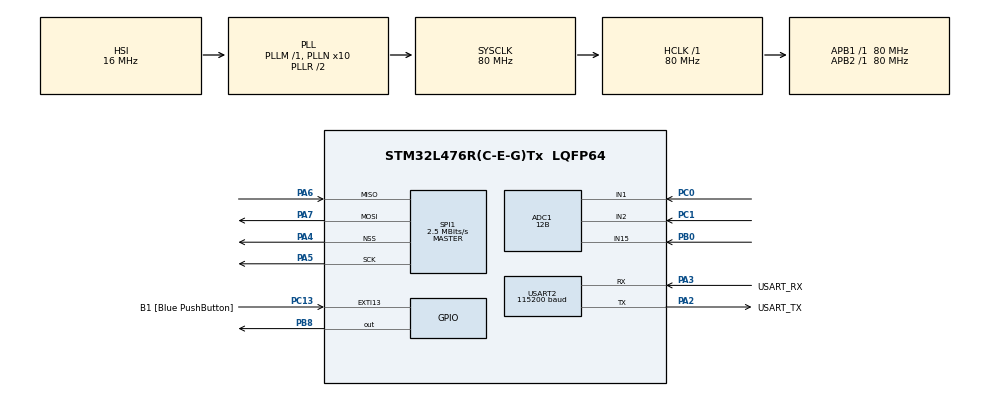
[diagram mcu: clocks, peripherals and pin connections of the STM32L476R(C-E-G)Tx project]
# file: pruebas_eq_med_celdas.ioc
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ADC1.Channel-0\#ChannelRegularConversion=ADC_CHANNEL_1
ADC1.Channel-1\#ChannelRegularConversion=ADC_CHANNEL_2
ADC1.Channel-2\#ChannelRegularConversion=ADC_CHANNEL_15
ADC1.EOCSelection=ADC_EOC_SEQ_CONV
ADC1.ExternalTrigConv=ADC_EXTERNALTRIG_T6_TRGO
ADC1.NbrOfConversion=3
ADC1.NbrOfConversionFlag=1
ADC1.OffsetNumber-0\#ChannelRegularConversion=ADC_OFFSET_NONE
ADC1.OffsetNumber-1\#ChannelRegularConversion=ADC_OFFSET_NONE
ADC1.OffsetNumber-2\#ChannelRegularConversion=ADC_OFFSET_NONE
ADC1.Overrun=ADC_OVR_DATA_OVERWRITTEN
ADC1.Rank-0\#ChannelRegularConversion=1
ADC1.Rank-1\#ChannelRegularConversion=2
ADC1.Rank-2\#ChannelRegularConversion=3
ADC1.Resolution=ADC_RESOLUTION_12B
ADC1.SamplingTime-0\#ChannelRegularConversion=ADC_SAMPLETIME_12CYCLES_5
ADC1.SamplingTime-1\#ChannelRegularConversion=ADC_SAMPLETIME_12CYCLES_5
ADC1.SamplingTime-2\#ChannelRegularConversion=ADC_SAMPLETIME_12CYCLES_5
ADC1.master=1
Dma.ADC1.1.Direction=DMA_PERIPH_TO_MEMORY
Dma.ADC1.1.Instance=DMA1_Channel1
Dma.ADC1.1.MemDataAlignment=DMA_MDATAALIGN_HALFWORD
Dma.ADC1.1.MemInc=DMA_MINC_ENABLE
Dma.ADC1.1.Mode=DMA_NORMAL
Dma.ADC1.1.PeriphDataAlignment=DMA_PDATAALIGN_HALFWORD
Dma.ADC1.1.PeriphInc=DMA_PINC_DISABLE
Dma.ADC1.1.Priority=DMA_PRIORITY_LOW
Dma.Request0=SPI1_TX
Dma.Request1=ADC1
Dma.SPI1_TX.0.Direction=DMA_MEMORY_TO_PERIPH
Dma.SPI1_TX.0.Instance=DMA1_Channel3
Dma.SPI1_TX.0.MemDataAlignment=DMA_MDATAALIGN_HALFWORD
Dma.SPI1_TX.0.MemInc=DMA_MINC_ENABLE
Dma.SPI1_TX.0.Mode=DMA_CIRCULAR
Dma.SPI1_TX.0.PeriphDataAlignment=DMA_PDATAALIGN_HALFWORD
Dma.SPI1_TX.0.PeriphInc=DMA_PINC_DISABLE
Dma.SPI1_TX.0.Priority=DMA_PRIORITY_LOW
Mcu.Family=STM32L4
Mcu.Name=STM32L476R(C-E-G)Tx
Mcu.Package=LQFP64
NVIC.ADC1_2_IRQn=true\:0\:0\:false\:false\:true\:true\:true\:true
NVIC.DMA1_Channel1_IRQn=true\:0\:0\:false\:false\:true\:false\:true\:true
NVIC.DMA1_Channel3_IRQn=true\:0\:0\:false\:false\:true\:false\:true\:true
NVIC.PriorityGroup=NVIC_PRIORITYGROUP_4
NVIC.TIM6_DAC_IRQn=true\:0\:0\:false\:false\:true\:true\:true\:true
NVIC.USART2_IRQn=true\:0\:0\:false\:false\:true\:true\:true\:true
PA13\ (JTMS-SWDIO).GPIO_Label=TMS
PA13\ (JTMS-SWDIO).Mode=Serial_Wire
PA13\ (JTMS-SWDIO).Signal=SYS_JTMS-SWDIO
PA14\ (JTCK-SWCLK).GPIO_Label=TCK
PA14\ (JTCK-SWCLK).Mode=Serial_Wire
PA14\ (JTCK-SWCLK).Signal=SYS_JTCK-SWCLK
PA2.GPIO_Label=USART_TX
PA2.GPIO_Mode=GPIO_MODE_AF_PP
PA2.GPIO_PuPd=GPIO_NOPULL
PA2.GPIO_Speed=GPIO_SPEED_FREQ_VERY_HIGH
PA2.Mode=Asynchronous
PA2.Signal=USART2_TX
PA3.GPIO_Label=USART_RX
PA3.GPIO_Mode=GPIO_MODE_AF_PP
PA3.GPIO_PuPd=GPIO_NOPULL
PA3.GPIO_Speed=GPIO_SPEED_FREQ_VERY_HIGH
PA3.Mode=Asynchronous
PA3.Signal=USART2_RX
PA4.GPIO_Speed=GPIO_SPEED_FREQ_LOW
PA4.Mode=NSS_Signal_Hard_Output
PA4.Signal=SPI1_NSS
PA5.GPIO_Speed=GPIO_SPEED_FREQ_LOW
PA5.Mode=Full_Duplex_Master
PA5.Signal=SPI1_SCK
PA6.GPIO_Speed=GPIO_SPEED_FREQ_LOW
PA6.Mode=Full_Duplex_Master
PA6.Signal=SPI1_MISO
PA7.GPIO_Speed=GPIO_SPEED_FREQ_LOW
PA7.Mode=Full_Duplex_Master
PA7.Signal=SPI1_MOSI
PB0.Signal=ADCx_IN15
PB8.GPIO_PuPd=GPIO_PULLDOWN
PB8.Signal=GPIO_Output
PC0.Signal=ADCx_IN1
PC1.Signal=ADCx_IN2
PC13.GPIO_Label=B1 [Blue PushButton]
PC13.GPIO_ModeDefaultEXTI=GPIO_MODE_IT_FALLING
PC13.GPIO_PuPd=GPIO_NOPULL
PC13.Signal=GPXTI13
PC14-OSC32_IN\ (PC14).Mode=LSE-External-Oscillator
PC14-OSC32_IN\ (PC14).Signal=RCC_OSC32_IN
PC15-OSC32_OUT\ (PC15).Mode=LSE-External-Oscillator
PC15-OSC32_OUT\ (PC15).Signal=RCC_OSC32_OUT
PH0-OSC_IN\ (PH0).Signal=RCC_OSC_IN
PH1-OSC_OUT\ (PH1).Signal=RCC_OSC_OUT
ProjectManager.HeapSize=0x200
ProjectManager.StackSize=0x400
ProjectManager.TargetToolchain=STM32CubeIDE
RCC.ADCFreq_Value=64000000
RCC.AHBFreq_Value=80000000
RCC.APB1Freq_Value=80000000
RCC.APB1TimFreq_Value=80000000
RCC.APB2Freq_Value=80000000
RCC.APB2TimFreq_Value=80000000
RCC.CortexFreq_Value=80000000
RCC.HCLKFreq_Value=80000000
RCC.HSE_VALUE=8000000
RCC.HSI_VALUE=16000000
RCC.MSI_VALUE=4000000
RCC.PLLN=10
RCC.PLLSourceVirtual=RCC_PLLSOURCE_HSI
RCC.PREFETCH_ENABLE=1
RCC.SYSCLKFreq_VALUE=80000000
RCC.SYSCLKSource=RCC_SYSCLKSOURCE_PLLCLK
RCC.USBFreq_Value=64000000
RCC.VCOOutputFreq_Value=160000000
SH.ADCx_IN1.0=ADC1_IN1,IN1-Single-Ended
SH.ADCx_IN15.0=ADC1_IN15,IN15-Single-Ended
SH.ADCx_IN2.0=ADC1_IN2,IN2-Single-Ended
SPI1.BaudRatePrescaler=SPI_BAUDRATEPRESCALER_32
SPI1.CRCCalculation=SPI_CRCCALCULATION_DISABLE
SPI1.CalculateBaudRate=2.5 MBits/s
SPI1.DataSize=SPI_DATASIZE_16BIT
SPI1.Direction=SPI_DIRECTION_2LINES
SPI1.Mode=SPI_MODE_MASTER
SPI1.NSSPMode=SPI_NSS_PULSE_ENABLE
SPI1.VirtualNSS=VM_NSSHARD
SPI1.VirtualType=VM_MASTER
TIM6.Period=9
TIM6.Prescaler=7
TIM6.TIM_MasterOutputTrigger=TIM_TRGO_UPDATE
USART2.BaudRate=115200
USART2.VirtualMode-Asynchronous=VM_ASYNC
VP_TIM6_VS_ClockSourceINT.Mode=Enable_Timer
board=NUCLEO-L476RG

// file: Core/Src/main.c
/* USER CODE BEGIN Header */
/**
  ******************************************************************************
  * @file           : main.c
  * @brief          : Main program body
  ******************************************************************************
  * @attention
  *
  * Copyright (c) 2026 STMicroelectronics.
  * All rights reserved.
  *
  * This software is licensed under terms that can be found in the LICENSE file
  * in the root directory of this software component.
  * If no LICENSE file comes with this software, it is provided AS-IS.
  *
  ******************************************************************************
  */
/* USER CODE END Header */
#include "main.h"

/* USER CODE BEGIN Includes */
#include "math.h"
#include <string.h>
/* USER CODE END Includes */

/* USER CODE BEGIN PTD */
typedef enum {
    MCP4822_CH_A = 0,
    MCP4822_CH_B = 1
} MCP4822_Channel;
/* USER CODE END PTD */

/* USER CODE BEGIN PD */
#define SAMPLE_RATE     1000000
#define CHANNELS        3
#define RECORD_TIME_MS  10

#define ADC_SAMPLES     ((SAMPLE_RATE * RECORD_TIME_MS / 1000) * CHANNELS)

uint16_t adcBuffer[ADC_SAMPLES];

volatile uint8_t adcFinished = 0;

uint8_t rx;
char command[16];
uint8_t commandIndex = 0;
/* USER CODE END PD */

/* USER CODE BEGIN PM */
#define MCP482X_VREF 2.048f
/* USER CODE END PM */

ADC_HandleTypeDef hadc1;
DMA_HandleTypeDef hdma_adc1;

SPI_HandleTypeDef hspi1;
DMA_HandleTypeDef hdma_spi1_tx;

TIM_HandleTypeDef htim6;

UART_HandleTypeDef huart2;

void SystemClock_Config(void);
static void MX_GPIO_Init(void);
static void MX_DMA_Init(void);
static void MX_USART2_UART_Init(void);
static void MX_SPI1_Init(void);
static void MX_ADC1_Init(void);
static void MX_TIM6_Init(void);
/* USER CODE BEGIN PFP */
void MCP4822_FillSineDMA(uint16_t *buffer,
                                uint32_t size,
                                float amplitude_volts,
                                float offset_volts,
                                uint8_t ga,
                                uint8_t channel)
{
    if (!buffer || size == 0) return;

    float fullscale = ga ? MCP482X_VREF : (2.0f * MCP482X_VREF);

    // Limitar amplitud para no saturar
    float max_amp = offset_volts;
    if ((fullscale - offset_volts) < max_amp)
        max_amp = fullscale - offset_volts;

    if (amplitude_volts > max_amp)
        amplitude_volts = max_amp;

    uint16_t config = 0;
    config |= (channel ? (1 << 15) : 0); // A/B
    config |= (1 << 14);                 // BUF
    config |= (ga ? (1 << 13) : 0);      // GA
    config |= (1 << 12);                 // SHDN

    for (uint32_t i = 0; i < size; i++)
    {
        float phase = 2.0f * M_PI * ((float)i / (float)size);
        float s = sinf(phase);

        float voltage = offset_volts + s * amplitude_volts;

        if (voltage < 0.0f) voltage = 0.0f;
        if (voltage > fullscale) voltage = fullscale;

        uint16_t code = (uint16_t)((voltage / fullscale) * 4095.0f);

        buffer[i] = config | (code & 0x0FFF);
    }
    HAL_SPI_Transmit_DMA(&hspi1, (uint8_t*)buffer, size);
}

void MCP4821_FillSineDMA(uint16_t *buffer,
                         uint32_t size,
                         float amplitude_volts,
                         float offset_volts,
                         uint8_t ga)
{
    if (!buffer || size == 0) return;

    float fullscale = ga ? MCP482X_VREF : (2.0f * MCP482X_VREF);

    // Limitar amplitud para no saturar
    float max_amp = offset_volts;

    if ((fullscale - offset_volts) < max_amp)
        max_amp = fullscale - offset_volts;

    if (amplitude_volts > max_amp)
        amplitude_volts = max_amp;

    uint16_t config = 0;

    config |= (1 << 14);             // BUF
    config |= (ga ? (1 << 13) : 0);  // GA
    config |= (1 << 12);             // SHDN

    for (uint32_t i = 0; i < size; i++)
    {
        float phase = 2.0f * M_PI * ((float)i / (float)size);
        float s = sinf(phase);

        float voltage = offset_volts + s * amplitude_volts;

        if (voltage < 0.0f)
            voltage = 0.0f;

        if (voltage > fullscale)
            voltage = fullscale;

        uint16_t code = (uint16_t)((voltage / fullscale) * 4095.0f);

        buffer[i] = config | (code & 0x0FFF);
    }

    HAL_SPI_Transmit_DMA(&hspi1, (uint8_t *)buffer, size);
}

// --- Set voltage function ---
void MCP4822_SetVoltage(MCP4822_Channel ch, float voltage)
{
    if (voltage < 0.0f)
        voltage = 0.0f;

    if (voltage > 4.096f)
        voltage = 4.096f;

    uint16_t code = (uint16_t)((voltage / 4.096f) * 4095.0f);

    uint16_t command = 0;

    command |= ((uint16_t)ch << 15);  // Channel select
    command |= (0U << 14);            // Unbuffered
    command |= (0U << 13);            // Gain = 2x
    command |= (1U << 12);            // Active
    command |= (code & 0x0FFF);       // 12-bit DAC code

    HAL_SPI_Transmit(&hspi1,
                     (uint8_t *)&command,
                     1,
                     HAL_MAX_DELAY);
}
/* USER CODE END PFP */

int main(void)
{

  /* MCU Configuration--------------------------------------------------------*/

  /* Reset of all peripherals, Initializes the Flash interface and the Systick. */
  HAL_Init();

  /* Configure the system clock */
  SystemClock_Config();

  /* Initialize all configured peripherals */
  MX_GPIO_Init();
  MX_DMA_Init();
  MX_USART2_UART_Init();
  MX_SPI1_Init();
  MX_ADC1_Init();
  MX_TIM6_Init();
  /* USER CODE BEGIN 2 */
//  uint32_t dac_val_1 = 0.2*4096/3.3;
//  uint32_t dac_val_2 = 1.90*4096/3.3;

//  HAL_TIM_Base_Start(&htim2);
//
//
//  HAL_DAC_Start(&hdac1, DAC_CHANNEL_2);
//  HAL_DAC_SetValue(&hdac1, DAC_CHANNEL_1, DAC_ALIGN_12B_R, dac_val_1);
//  HAL_DAC_Start(&hdac1, DAC_CHANNEL_1);
//  HAL_DAC_Start_DMA(&hdac1, DAC1_CHANNEL_1, sine_val, 100, DAC_ALIGN_12B_R);
//  HAL_DAC_SetValue(&hdac1, DAC_CHANNEL_2, DAC_ALIGN_12B_R, dac_val_2);

  uint16_t dac_buffer[139];
//
//  MCP4821_GenerateSine(dac_buffer, sizeof(dac_buffer)/sizeof(uint16_t), 0.1, 1);
//
//  HAL_SPI_Transmit_DMA(&hspi1, (uint8_t *) dac_buffer, sizeof(dac_buffer)/sizeof(uint16_t));

//  MCP4822_SetVoltage(MCP4822_CH_A , 2.0);
  MCP4822_SetVoltage(MCP4822_CH_B , 1.88); // 2.5 => 2.75 - 1.9 => 2.108 // VREF = 1.07 * VB + 0.075 // VB = 0.935 * VREF - 0.07 // VBAT = 2.01 * VREF
  HAL_Delay(100);
  MCP4822_FillSineDMA(dac_buffer, sizeof(dac_buffer)/sizeof(uint16_t), 0.05f,1.0f, 1, MCP4822_CH_A);
  /* USER CODE END 2 */

  /* Infinite loop */
  /* USER CODE BEGIN WHILE */
  memset((uint8_t *) adcBuffer, 0, sizeof(adcBuffer));
  HAL_UART_Receive_IT(&huart2, &rx, 1);
  while(HAL_GPIO_ReadPin(B1_GPIO_Port, B1_Pin));
  HAL_GPIO_WritePin(GPIOB, GPIO_PIN_8, GPIO_PIN_SET);
  while (1)
  {
    /* USER CODE END WHILE */

  }
}

void SystemClock_Config(void)
{
  RCC_OscInitTypeDef RCC_OscInitStruct = {0};
  RCC_ClkInitTypeDef RCC_ClkInitStruct = {0};

  /** Configure the main internal regulator output voltage
  */
  if (HAL_PWREx_ControlVoltageScaling(PWR_REGULATOR_VOLTAGE_SCALE1) != HAL_OK)
  {
    Error_Handler();
  }

  /** Initializes the RCC Oscillators according to the specified parameters
  * in the RCC_OscInitTypeDef structure.
  */
  RCC_OscInitStruct.OscillatorType = RCC_OSCILLATORTYPE_HSI;
  RCC_OscInitStruct.HSIState = RCC_HSI_ON;
  RCC_OscInitStruct.HSICalibrationValue = RCC_HSICALIBRATION_DEFAULT;
  RCC_OscInitStruct.PLL.PLLState = RCC_PLL_ON;
  RCC_OscInitStruct.PLL.PLLSource = RCC_PLLSOURCE_HSI;
  RCC_OscInitStruct.PLL.PLLM = 1;
  RCC_OscInitStruct.PLL.PLLN = 10;
  RCC_OscInitStruct.PLL.PLLP = RCC_PLLP_DIV7;
  RCC_OscInitStruct.PLL.PLLQ = RCC_PLLQ_DIV2;
  RCC_OscInitStruct.PLL.PLLR = RCC_PLLR_DIV2;
  if (HAL_RCC_OscConfig(&RCC_OscInitStruct) != HAL_OK)
  {
    Error_Handler();
  }

  /** Initializes the CPU, AHB and APB buses clocks
  */
  RCC_ClkInitStruct.ClockType = RCC_CLOCKTYPE_HCLK|RCC_CLOCKTYPE_SYSCLK
                              |RCC_CLOCKTYPE_PCLK1|RCC_CLOCKTYPE_PCLK2;
  RCC_ClkInitStruct.SYSCLKSource = RCC_SYSCLKSOURCE_PLLCLK;
  RCC_ClkInitStruct.AHBCLKDivider = RCC_SYSCLK_DIV1;
  RCC_ClkInitStruct.APB1CLKDivider = RCC_HCLK_DIV1;
  RCC_ClkInitStruct.APB2CLKDivider = RCC_HCLK_DIV1;

  if (HAL_RCC_ClockConfig(&RCC_ClkInitStruct, FLASH_LATENCY_4) != HAL_OK)
  {
    Error_Handler();
  }
}

static void MX_ADC1_Init(void)
{

  ADC_MultiModeTypeDef multimode = {0};
  ADC_ChannelConfTypeDef sConfig = {0};

  /** Common config
  */
  hadc1.Instance = ADC1;
  hadc1.Init.ClockPrescaler = ADC_CLOCK_ASYNC_DIV1;
  hadc1.Init.Resolution = ADC_RESOLUTION_12B;
  hadc1.Init.DataAlign = ADC_DATAALIGN_RIGHT;
  hadc1.Init.ScanConvMode = ADC_SCAN_ENABLE;
  hadc1.Init.EOCSelection = ADC_EOC_SEQ_CONV;
  hadc1.Init.LowPowerAutoWait = DISABLE;
  hadc1.Init.ContinuousConvMode = DISABLE;
  hadc1.Init.NbrOfConversion = 3;
  hadc1.Init.DiscontinuousConvMode = DISABLE;
  hadc1.Init.ExternalTrigConv = ADC_EXTERNALTRIG_T6_TRGO;
  hadc1.Init.ExternalTrigConvEdge = ADC_EXTERNALTRIGCONVEDGE_RISING;
  hadc1.Init.DMAContinuousRequests = DISABLE;
  hadc1.Init.Overrun = ADC_OVR_DATA_OVERWRITTEN;
  hadc1.Init.OversamplingMode = DISABLE;
  if (HAL_ADC_Init(&hadc1) != HAL_OK)
  {
    Error_Handler();
  }

  /** Configure the ADC multi-mode
  */
  multimode.Mode = ADC_MODE_INDEPENDENT;
  if (HAL_ADCEx_MultiModeConfigChannel(&hadc1, &multimode) != HAL_OK)
  {
    Error_Handler();
  }

  /** Configure Regular Channel
  */
  sConfig.Channel = ADC_CHANNEL_1;
  sConfig.Rank = ADC_REGULAR_RANK_1;
  sConfig.SamplingTime = ADC_SAMPLETIME_12CYCLES_5;
  sConfig.SingleDiff = ADC_SINGLE_ENDED;
  sConfig.OffsetNumber = ADC_OFFSET_NONE;
  sConfig.Offset = 0;
  if (HAL_ADC_ConfigChannel(&hadc1, &sConfig) != HAL_OK)
  {
    Error_Handler();
  }

  /** Configure Regular Channel
  */
  sConfig.Channel = ADC_CHANNEL_2;
  sConfig.Rank = ADC_REGULAR_RANK_2;
  if (HAL_ADC_ConfigChannel(&hadc1, &sConfig) != HAL_OK)
  {
    Error_Handler();
  }

  /** Configure Regular Channel
  */
  sConfig.Channel = ADC_CHANNEL_15;
  sConfig.Rank = ADC_REGULAR_RANK_3;
  if (HAL_ADC_ConfigChannel(&hadc1, &sConfig) != HAL_OK)
  {
    Error_Handler();
  }

}

static void MX_SPI1_Init(void)
{

  /* SPI1 parameter configuration*/
  hspi1.Instance = SPI1;
  hspi1.Init.Mode = SPI_MODE_MASTER;
  hspi1.Init.Direction = SPI_DIRECTION_2LINES;
  hspi1.Init.DataSize = SPI_DATASIZE_16BIT;
  hspi1.Init.CLKPolarity = SPI_POLARITY_LOW;
  hspi1.Init.CLKPhase = SPI_PHASE_1EDGE;
  hspi1.Init.NSS = SPI_NSS_HARD_OUTPUT;
  hspi1.Init.BaudRatePrescaler = SPI_BAUDRATEPRESCALER_32;
  hspi1.Init.FirstBit = SPI_FIRSTBIT_MSB;
  hspi1.Init.TIMode = SPI_TIMODE_DISABLE;
  hspi1.Init.CRCCalculation = SPI_CRCCALCULATION_DISABLE;
  hspi1.Init.CRCPolynomial = 7;
  hspi1.Init.CRCLength = SPI_CRC_LENGTH_DATASIZE;
  hspi1.Init.NSSPMode = SPI_NSS_PULSE_ENABLE;
  if (HAL_SPI_Init(&hspi1) != HAL_OK)
  {
    Error_Handler();
  }

}

static void MX_TIM6_Init(void)
{

  TIM_MasterConfigTypeDef sMasterConfig = {0};

  htim6.Instance = TIM6;
  htim6.Init.Prescaler = 7;
  htim6.Init.CounterMode = TIM_COUNTERMODE_UP;
  htim6.Init.Period = 9;
  htim6.Init.AutoReloadPreload = TIM_AUTORELOAD_PRELOAD_DISABLE;
  if (HAL_TIM_Base_Init(&htim6) != HAL_OK)
  {
    Error_Handler();
  }
  sMasterConfig.MasterOutputTrigger = TIM_TRGO_UPDATE;
  sMasterConfig.MasterSlaveMode = TIM_MASTERSLAVEMODE_DISABLE;
  if (HAL_TIMEx_MasterConfigSynchronization(&htim6, &sMasterConfig) != HAL_OK)
  {
    Error_Handler();
  }

}

static void MX_USART2_UART_Init(void)
{

  huart2.Instance = USART2;
  huart2.Init.BaudRate = 115200;
  huart2.Init.WordLength = UART_WORDLENGTH_8B;
  huart2.Init.StopBits = UART_STOPBITS_1;
  huart2.Init.Parity = UART_PARITY_NONE;
  huart2.Init.Mode = UART_MODE_TX_RX;
  huart2.Init.HwFlowCtl = UART_HWCONTROL_NONE;
  huart2.Init.OverSampling = UART_OVERSAMPLING_16;
  huart2.Init.OneBitSampling = UART_ONE_BIT_SAMPLE_DISABLE;
  huart2.AdvancedInit.AdvFeatureInit = UART_ADVFEATURE_NO_INIT;
  if (HAL_UART_Init(&huart2) != HAL_OK)
  {
    Error_Handler();
  }

}

static void MX_DMA_Init(void)
{

  /* DMA controller clock enable */
  __HAL_RCC_DMA1_CLK_ENABLE();

  /* DMA interrupt init */
  /* DMA1_Channel1_IRQn interrupt configuration */
  HAL_NVIC_SetPriority(DMA1_Channel1_IRQn, 0, 0);
  HAL_NVIC_EnableIRQ(DMA1_Channel1_IRQn);
  /* DMA1_Channel3_IRQn interrupt configuration */
  HAL_NVIC_SetPriority(DMA1_Channel3_IRQn, 0, 0);
  HAL_NVIC_EnableIRQ(DMA1_Channel3_IRQn);

}

static void MX_GPIO_Init(void)
{
  GPIO_InitTypeDef GPIO_InitStruct = {0};

  /* GPIO Ports Clock Enable */
  __HAL_RCC_GPIOC_CLK_ENABLE();
  __HAL_RCC_GPIOH_CLK_ENABLE();
  __HAL_RCC_GPIOA_CLK_ENABLE();
  __HAL_RCC_GPIOB_CLK_ENABLE();

  /*Configure GPIO pin Output Level */
  HAL_GPIO_WritePin(GPIOB, GPIO_PIN_8, GPIO_PIN_RESET);

  /*Configure GPIO pin : B1_Pin */
  GPIO_InitStruct.Pin = B1_Pin;
  GPIO_InitStruct.Mode = GPIO_MODE_IT_FALLING;
  GPIO_InitStruct.Pull = GPIO_NOPULL;
  HAL_GPIO_Init(B1_GPIO_Port, &GPIO_InitStruct);

  /*Configure GPIO pin : PB8 */
  GPIO_InitStruct.Pin = GPIO_PIN_8;
  GPIO_InitStruct.Mode = GPIO_MODE_OUTPUT_PP;
  GPIO_InitStruct.Pull = GPIO_PULLDOWN;
  GPIO_InitStruct.Speed = GPIO_SPEED_FREQ_LOW;
  HAL_GPIO_Init(GPIOB, &GPIO_InitStruct);

}

/* USER CODE BEGIN 4 */
void StartAcquisition(void)
{
    adcFinished = 0;

    memset((uint8_t *) adcBuffer, 0, sizeof(adcBuffer));
    HAL_ADC_Start_DMA(&hadc1,
                      (uint32_t *)adcBuffer,
                      ADC_SAMPLES);

    HAL_TIM_Base_Start(&htim6);
}

void HAL_ADC_ConvCpltCallback(ADC_HandleTypeDef *hadc)
{
    if (hadc == &hadc1)
    {
        HAL_TIM_Base_Stop(&htim6);
        HAL_ADC_Stop_DMA(&hadc1);

        adcFinished = 1;

        const uint8_t msg[] = "DONE\n";
        HAL_UART_Transmit(&huart2,
                          (uint8_t *)msg,
                          sizeof(msg) - 1,
                          HAL_MAX_DELAY);
    }
}

void HAL_UART_RxCpltCallback(UART_HandleTypeDef *huart)
{
    if (huart == &huart2)
    {
        if (rx == '\n')
        {
            command[commandIndex] = '\0';

            if (strcmp(command, "s") == 0)
            {
                StartAcquisition();
            }
            else if (strcmp(command, "r") == 0)
            {
                if (adcFinished)
                {
                    HAL_UART_Transmit(&huart2,
                                      (uint8_t *)adcBuffer,
                                      sizeof(adcBuffer),
                                      HAL_MAX_DELAY);
                }
            }

            commandIndex = 0;
        }
        else if (rx != '\r')
        {
            if (commandIndex < sizeof(command) - 1)
            {
                command[commandIndex++] = rx;
            }
        }

        HAL_UART_Receive_IT(&huart2, &rx, 1);
    }
}
/* USER CODE END 4 */

void Error_Handler(void)
{
  __disable_irq();
  while (1)
  {
  }
}
